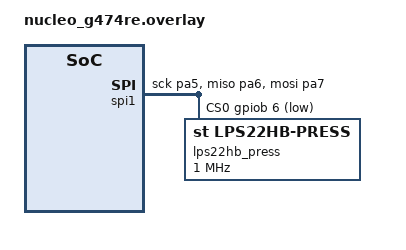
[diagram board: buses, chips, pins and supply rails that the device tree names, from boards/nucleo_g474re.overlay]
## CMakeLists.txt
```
cmake_minimum_required(VERSION 3.20.0)

# list(APPEND DTS_ROOT ${CMAKE_CURRENT_SOURCE_DIR})

find_package(Zephyr REQUIRED HINTS $ENV{ZEPHYR_BASE})
project(spi_lps_read)

target_sources(app PRIVATE src/main.cpp)
```

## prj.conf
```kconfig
# Console/UART
CONFIG_SERIAL=y
CONFIG_UART_INTERRUPT_DRIVEN=y
CONFIG_UART_CONSOLE=y

# Printk backend
CONFIG_PRINTK=y
CONFIG_CONSOLE=y

CONFIG_GPIO=y

CONFIG_CPP=y
CONFIG_STD_CPP20=y


#for spi
CONFIG_SPI=y

CONFIG_MAIN_STACK_SIZE=2048
```

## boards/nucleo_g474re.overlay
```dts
#include <zephyr/dt-bindings/spi/spi.h>

&spi1 {
	pinctrl-0 = <&spi1_sck_pa5 &spi1_miso_pa6 &spi1_mosi_pa7>;
	pinctrl-names = "default";
	cs-gpios = <&gpiob 6 (GPIO_ACTIVE_LOW | GPIO_PULL_UP)>;
	status = "okay";

    lps22hb_press: lps22hb-press@0 {
        compatible = "st,lps22hb-press";
        reg = <0>;
        status = "okay";
        spi-max-frequency = <1000000>;
    };
};
```

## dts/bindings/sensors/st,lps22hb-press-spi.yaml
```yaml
# Copyright (c) 2017, Linaro Limited
# SPDX-License-Identifier: Apache-2.0

description: STMicroelectronics LPS22HB pressure sensor

compatible: "st,lps22hb-press"

include: [spi-device.yaml]
```

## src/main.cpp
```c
#include <zephyr/kernel.h>
#include <zephyr/device.h>
#include <zephyr/devicetree.h>
#include <zephyr/drivers/gpio.h>
#include <zephyr/drivers/sensor.h>
#include <zephyr/drivers/spi.h>
#include <stdio.h>



#define THS_P_L 0x0C
#define THS_P_H 0x0D
#define MSG 0x0F
#define READ 0x80
#define WRITE 0x00
#define DUMMY_BYTE 0x00


static const struct device *g_spi = DEVICE_DT_GET(DT_NODELABEL(spi1));


int main(void)
{
uint8_t data_tx[2] = {0x8F,0};
uint8_t data_rx[2] = {0}; 

// struct spi_config config = {
// .frequency = 1000000,
// .operation = SPI_WORD_SET(8) | SPI_TRANSFER_MSB | SPI_OP_MODE_MASTER,
// .slave = 0
// };
 
struct spi_config config =
SPI_CONFIG_DT(DT_NODELABEL(lps22hb_press),
SPI_WORD_SET(8) |
SPI_TRANSFER_MSB |
SPI_OP_MODE_MASTER |
SPI_MODE_CPOL |
SPI_MODE_CPHA,
0); 

struct spi_buf tx_buf = {
.buf = &data_tx , .len = 2
};

struct spi_buf rx_buf = {
.buf = &data_rx , .len = 2
};


struct spi_buf_set tx = {
.buffers = &tx_buf,
.count = 1
};

struct spi_buf_set rx = {
.buffers = &rx_buf,
.count = 1
};
spi_transceive(g_spi,&config,&tx,&rx);

printk("WHO_AM_I = 0x%02X\n", data_rx[1]);

while(1)
{
k_msleep(1000);
}

return 0;
}
```
